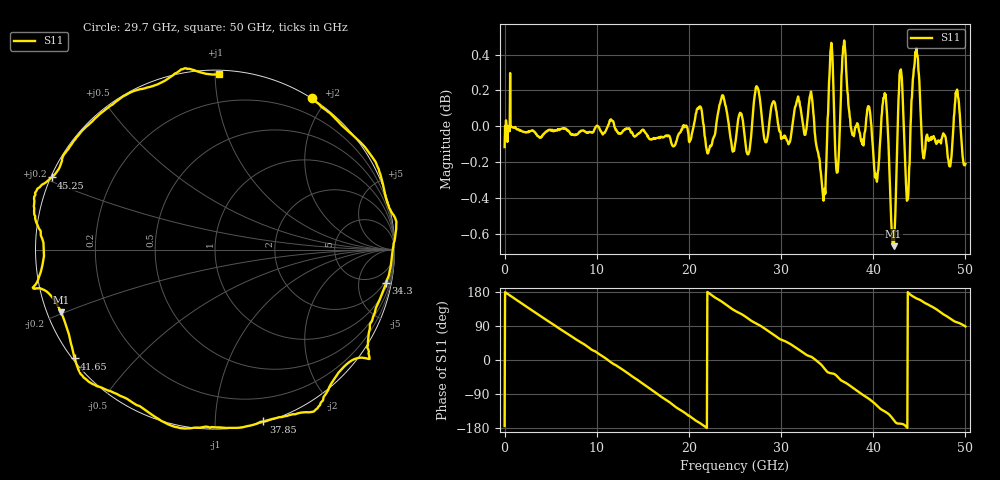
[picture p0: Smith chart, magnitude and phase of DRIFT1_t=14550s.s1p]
!Created with skrf (http://scikit-rf.org).
# Hz S RI R 50.0
!freq ReS11 ImS11
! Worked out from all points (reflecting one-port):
!   1001 points, 300 kHz to 50 GHz, reference 50 ohm
!   lowest |S11| = -0.7 dB at 42.2 GHz (marker M1), VSWR 26.02, Z = 1.99 - j9.75 ohm
!   phase of S11 starts at -174 deg and turns -817 deg over the sweep
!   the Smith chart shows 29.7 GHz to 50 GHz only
!   S11 on the Smith chart (normalised r, x): 29.7 GHz: -0.00, +1.83; 34.3 GHz: 2, -10; 37.85 GHz: 0.01, -1.32; 41.65 GHz: 0.01, -0.34; 45.25 GHz: 0.00, +0.21; 50 GHz: 0.02, +1.03
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300000  -0.9816 -0.1009
1.500291e9  -0.9058 0.4186
3.25028e9  -0.5915 0.8017
6.250262e9  0.2026 0.9779
9.500243e9  0.8927 0.4422
1.250022e10  0.9317 -0.3504
1.580021e10  0.2364 -0.9631
1.74002e10  -0.2244 -0.9679
1.875019e10  -0.5992 -0.7916
2.150017e10  -0.9932 -0.1504
2.350016e10  -0.9228 0.4286
2.500015e10  -0.6327 0.7595
2.740014e10  -0.0938 1.021
2.970012e10  0.539 0.8432
3.125011e10  0.7866 0.6198
3.31001e10  1.003 0.1776
3.430009e10  0.9535 -0.1851
3.520009e10  0.8571 -0.5678
3.750008e10  0.3717 -0.9333
3.785007e10  0.2701 -0.9573
3.960006e10  -0.2376 -0.9828
4.165005e10  -0.7818 -0.6067
4.220005e10  -0.8579 -0.3484
4.290004e10  -1.013 -0.2142
4.375004e10  -0.9542 0.0146
4.525003e10  -0.9101 0.4017
4.770001e10  -0.4885 0.8663
5e10  0.0251 0.9758
